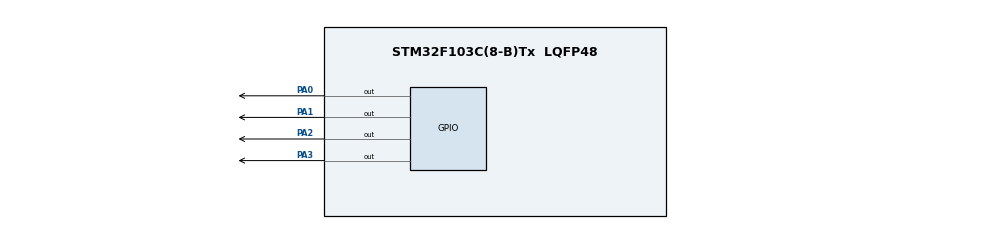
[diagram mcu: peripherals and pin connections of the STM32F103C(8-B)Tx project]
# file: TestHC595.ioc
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Mcu.Family=STM32F1
Mcu.Name=STM32F103C(8-B)Tx
Mcu.Package=LQFP48
NVIC.PriorityGroup=NVIC_PRIORITYGROUP_4
PA0-WKUP.Signal=GPIO_Output
PA1.Signal=GPIO_Output
PA13.Mode=Serial_Wire
PA13.Signal=SYS_JTMS-SWDIO
PA14.Mode=Serial_Wire
PA14.Signal=SYS_JTCK-SWCLK
PA2.Signal=GPIO_Output
PA3.Signal=GPIO_Output
ProjectManager.HeapSize=0x200
ProjectManager.StackSize=0x400
ProjectManager.TargetToolchain=MDK-ARM V5.32
RCC.APB1Freq_Value=8000000
RCC.APB2Freq_Value=8000000
board=custom

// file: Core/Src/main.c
/* USER CODE BEGIN Header */
/**
  ******************************************************************************
  * @file           : main.c
  * @brief          : Main program body
  ******************************************************************************
  * @attention
  *
  * Copyright (c) 2024 STMicroelectronics.
  * All rights reserved.
  *
  * This software is licensed under terms that can be found in the LICENSE file
  * in the root directory of this software component.
  * If no LICENSE file comes with this software, it is provided AS-IS.
  *
  ******************************************************************************
  */
/* USER CODE END Header */
#include "main.h"

void SystemClock_Config(void);
static void MX_GPIO_Init(void);

int main(void)
{

  /* MCU Configuration--------------------------------------------------------*/

  /* Reset of all peripherals, Initializes the Flash interface and the Systick. */
  HAL_Init();

  /* Configure the system clock */
  SystemClock_Config();

  /* Initialize all configured peripherals */
  MX_GPIO_Init();
  /* USER CODE BEGIN 2 */

	 	 HAL_GPIO_WritePin(GPIOA,GPIO_PIN_3,1);

		HAL_GPIO_WritePin(GPIOA,GPIO_PIN_2,1);
		HAL_GPIO_WritePin(GPIOA,GPIO_PIN_0,1);
		HAL_Delay(1);
		HAL_GPIO_WritePin(GPIOA,GPIO_PIN_0,0);
		HAL_Delay(1);
		HAL_GPIO_WritePin(GPIOA,GPIO_PIN_0,1);
		HAL_Delay(1);
		HAL_GPIO_WritePin(GPIOA,GPIO_PIN_0,0);
		HAL_Delay(1);
		HAL_GPIO_WritePin(GPIOA,GPIO_PIN_0,1);
		HAL_Delay(1);
		HAL_GPIO_WritePin(GPIOA,GPIO_PIN_0,0);
		HAL_Delay(1);
		HAL_GPIO_WritePin(GPIOA,GPIO_PIN_0,1);
		HAL_Delay(1);
		HAL_GPIO_WritePin(GPIOA,GPIO_PIN_0,0);
		HAL_Delay(1);
		HAL_GPIO_WritePin(GPIOA,GPIO_PIN_0,1);
		HAL_Delay(1);
		HAL_GPIO_WritePin(GPIOA,GPIO_PIN_0,0);
		HAL_Delay(1);
		HAL_GPIO_WritePin(GPIOA,GPIO_PIN_0,1);
		HAL_Delay(1);
		HAL_GPIO_WritePin(GPIOA,GPIO_PIN_0,0);
		HAL_Delay(1);
		HAL_GPIO_WritePin(GPIOA,GPIO_PIN_2,0);
		HAL_GPIO_WritePin(GPIOA,GPIO_PIN_0,1);
		HAL_Delay(1);
		HAL_GPIO_WritePin(GPIOA,GPIO_PIN_0,0);
		HAL_Delay(1);
		HAL_GPIO_WritePin(GPIOA,GPIO_PIN_0,1);
		HAL_Delay(1);
		HAL_GPIO_WritePin(GPIOA,GPIO_PIN_0,0);
			HAL_Delay(1);
			HAL_GPIO_WritePin(GPIOA,GPIO_PIN_2,1);
		HAL_GPIO_WritePin(GPIOA,GPIO_PIN_1,1);
		HAL_Delay(1);
		HAL_GPIO_WritePin(GPIOA,GPIO_PIN_1,0);

//		 HAL_Delay(1);
//		HAL_GPIO_WritePin(GPIOA,GPIO_PIN_3,0);
//		HAL_Delay(1);
//    HAL_GPIO_WritePin(GPIOA,GPIO_PIN_3,1);

  /* USER CODE END 2 */

  /* Infinite loop */
  while (1)
  {

    /* USER CODE BEGIN 3 */
//		HAL_GPIO_WritePin(GPIOA,GPIO_PIN_2,1);
//		HAL_GPIO_WritePin(GPIOA,GPIO_PIN_0,1);
//		HAL_Delay(1);
//		HAL_GPIO_WritePin(GPIOA,GPIO_PIN_0,0);
//		HAL_Delay(1);
//		HAL_GPIO_WritePin(GPIOA,GPIO_PIN_2,0);
//		HAL_GPIO_WritePin(GPIOA,GPIO_PIN_1,1);
//		HAL_Delay(1);
//		HAL_GPIO_WritePin(GPIOA,GPIO_PIN_1,0);
//				HAL_GPIO_WritePin(GPIOA,GPIO_PIN_2,1);
//		HAL_GPIO_WritePin(GPIOA,GPIO_PIN_0,1);
//		HAL_Delay(1);
//		HAL_GPIO_WritePin(GPIOA,GPIO_PIN_0,0);
//		HAL_Delay(1);
//		HAL_GPIO_WritePin(GPIOA,GPIO_PIN_2,0);
//		HAL_GPIO_WritePin(GPIOA,GPIO_PIN_1,1);
//		HAL_Delay(1);
//		HAL_GPIO_WritePin(GPIOA,GPIO_PIN_1,0);

  }
  /* USER CODE END 3 */
}

void SystemClock_Config(void)
{
  RCC_OscInitTypeDef RCC_OscInitStruct = {0};
  RCC_ClkInitTypeDef RCC_ClkInitStruct = {0};

  /** Initializes the RCC Oscillators according to the specified parameters
  * in the RCC_OscInitTypeDef structure.
  */
  RCC_OscInitStruct.OscillatorType = RCC_OSCILLATORTYPE_HSI;
  RCC_OscInitStruct.HSIState = RCC_HSI_ON;
  RCC_OscInitStruct.HSICalibrationValue = RCC_HSICALIBRATION_DEFAULT;
  RCC_OscInitStruct.PLL.PLLState = RCC_PLL_NONE;
  if (HAL_RCC_OscConfig(&RCC_OscInitStruct) != HAL_OK)
  {
    Error_Handler();
  }

  /** Initializes the CPU, AHB and APB buses clocks
  */
  RCC_ClkInitStruct.ClockType = RCC_CLOCKTYPE_HCLK|RCC_CLOCKTYPE_SYSCLK
                              |RCC_CLOCKTYPE_PCLK1|RCC_CLOCKTYPE_PCLK2;
  RCC_ClkInitStruct.SYSCLKSource = RCC_SYSCLKSOURCE_HSI;
  RCC_ClkInitStruct.AHBCLKDivider = RCC_SYSCLK_DIV1;
  RCC_ClkInitStruct.APB1CLKDivider = RCC_HCLK_DIV1;
  RCC_ClkInitStruct.APB2CLKDivider = RCC_HCLK_DIV1;

  if (HAL_RCC_ClockConfig(&RCC_ClkInitStruct, FLASH_LATENCY_0) != HAL_OK)
  {
    Error_Handler();
  }
}

static void MX_GPIO_Init(void)
{
  GPIO_InitTypeDef GPIO_InitStruct = {0};

  /* GPIO Ports Clock Enable */
  __HAL_RCC_GPIOA_CLK_ENABLE();

  /*Configure GPIO pin Output Level */
  HAL_GPIO_WritePin(GPIOA, GPIO_PIN_0|GPIO_PIN_1|GPIO_PIN_2|GPIO_PIN_3, GPIO_PIN_RESET);

  /*Configure GPIO pins : PA0 PA1 PA2 PA3 */
  GPIO_InitStruct.Pin = GPIO_PIN_0|GPIO_PIN_1|GPIO_PIN_2|GPIO_PIN_3;
  GPIO_InitStruct.Mode = GPIO_MODE_OUTPUT_PP;
  GPIO_InitStruct.Pull = GPIO_NOPULL;
  GPIO_InitStruct.Speed = GPIO_SPEED_FREQ_LOW;
  HAL_GPIO_Init(GPIOA, &GPIO_InitStruct);

}

void Error_Handler(void)
{
  __disable_irq();
  while (1)
  {
  }
}
